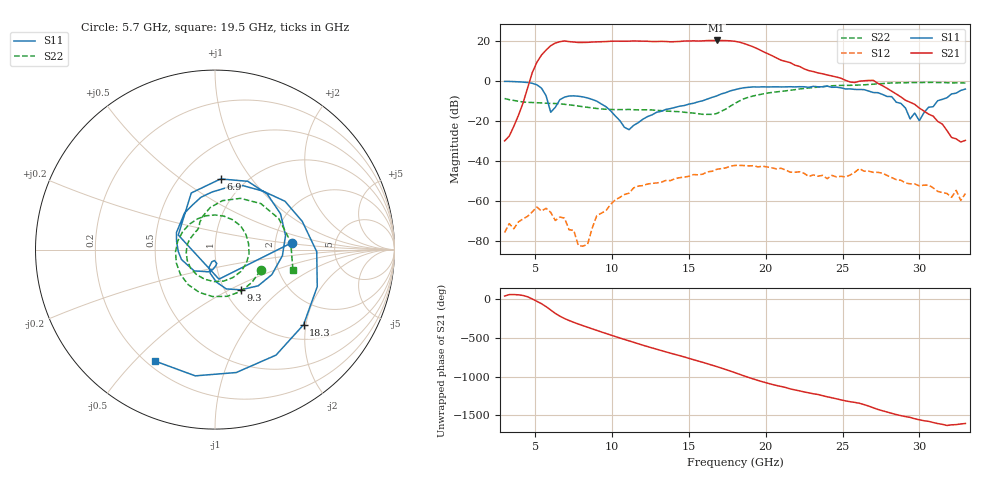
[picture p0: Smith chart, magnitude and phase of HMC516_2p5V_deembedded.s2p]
!Hittite Microwave Corporation
!20 Alpha Road
!Chelmsford, MA 01824
!Tel: 978-250-3343
!Fax: 978-250-3373
!Device: HMC516, 7-17 GHz, GaAs PHEMT MMIC Low Noise Amplifier Die
!Misc: Vdd1 = Vdd2 = Vdd3 = +2.5V, data includes two K connectors, Room
# MHZ S MA R 50
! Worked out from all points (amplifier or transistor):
!   101 points, 3 GHz to 33 GHz, reference 50 ohm
!   highest |S21| = 20.2 dB at 16.8 GHz (marker M1)
!   |S21| within 3 dB of that: 5.947 GHz to 19.12 GHz (13.17 GHz wide, 105 % of centre)
!   unconditionally stable (mu >= 1): start of sweep to end of sweep
!   at 7.8 GHz: K = 545.22, MAG = 20.3 dB, |S12| = -82.1 dB
!   at 18 GHz: K = 3.95, MAG = 22.0 dB, |S12| = -42.1 dB
!   at 33 GHz: K = 1215.92, MAG = -20.6 dB, |S12| = -56.2 dB
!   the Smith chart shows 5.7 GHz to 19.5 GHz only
!   S11 on the Smith chart (normalised r, x): 5.7 GHz: 2.48, +0.23; 6.9 GHz: 0.77, +0.72; 9.3 GHz: 1.19, -0.57; 18.3 GHz: 1.35, -1.94; 19.5 GHz: 0.23, -0.57
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3000  0.975 -141.5  0.032 42.4  0.0001657 123.4  0.365 133.8
4800  0.875 109.8  1.61 4.8  0.0005439 71.9  0.29 25.7
5700  0.429 5.1  5.903 -94.5  0.0006661 11.2  0.279 -24.5
6300  0.22 158.4  8.822 178.2  0.0003307 -9.9  0.274 -58.4
6900  0.395 85.5  9.964 111.6  0.0003794 -21.3  0.262 -92.9
8100  0.401 11.3  9.124 19.3  7.583e-05 -69.3  0.228 -161.0
9300  0.266 -57.4  9.531 -62.1  0.0005042 98.1  0.201 135.3
10200  0.135 -101.2  9.832 -121.0  0.00108 54.4  0.193 90.2
11100  0.061 -92.9  9.826 -177.2  0.001591 21.5  0.195 42.6
12300  0.129 -106.6  9.785 109.0  0.002688 -34.7  0.191 -23.2
13200  0.175 -150.2  9.726 57.3  0.002981 -70.2  0.182 -74.4
14700  0.244 141.6  9.902 -25.5  0.004001 -134.1  0.166 -159.0
15900  0.321 93.0  9.999 -94.9  0.004727 169.4  0.147 147.0
16800  0.422 50.4  10.24 -149.4  0.00625 121.0  0.154 125.1
17400  0.511 17.9  10.14 171.9  0.006785 84.5  0.199 109.5
18000  0.606 -19.9  9.746 131.0  0.007826 48.2  0.276 81.3
18300  0.647 -40.3  9.273 109.7  0.00784 26.8  0.319 63.5
19500  0.705 -118.2  6.27 30.4  0.007199 -37.0  0.449 -14.7
20700  0.714 173.9  3.761 -34.4  0.006398 -95.0  0.534 -93.6
23100  0.733 70.7  1.714 -141.8  0.004539 174.7  0.685 144.5
28200  0.407 -112.0  0.557 -34.8  0.0039 -29.5  0.895 -32.2
33000  0.628 151.3  0.033 -166.2  0.001556 -121.8  0.891 144.8
